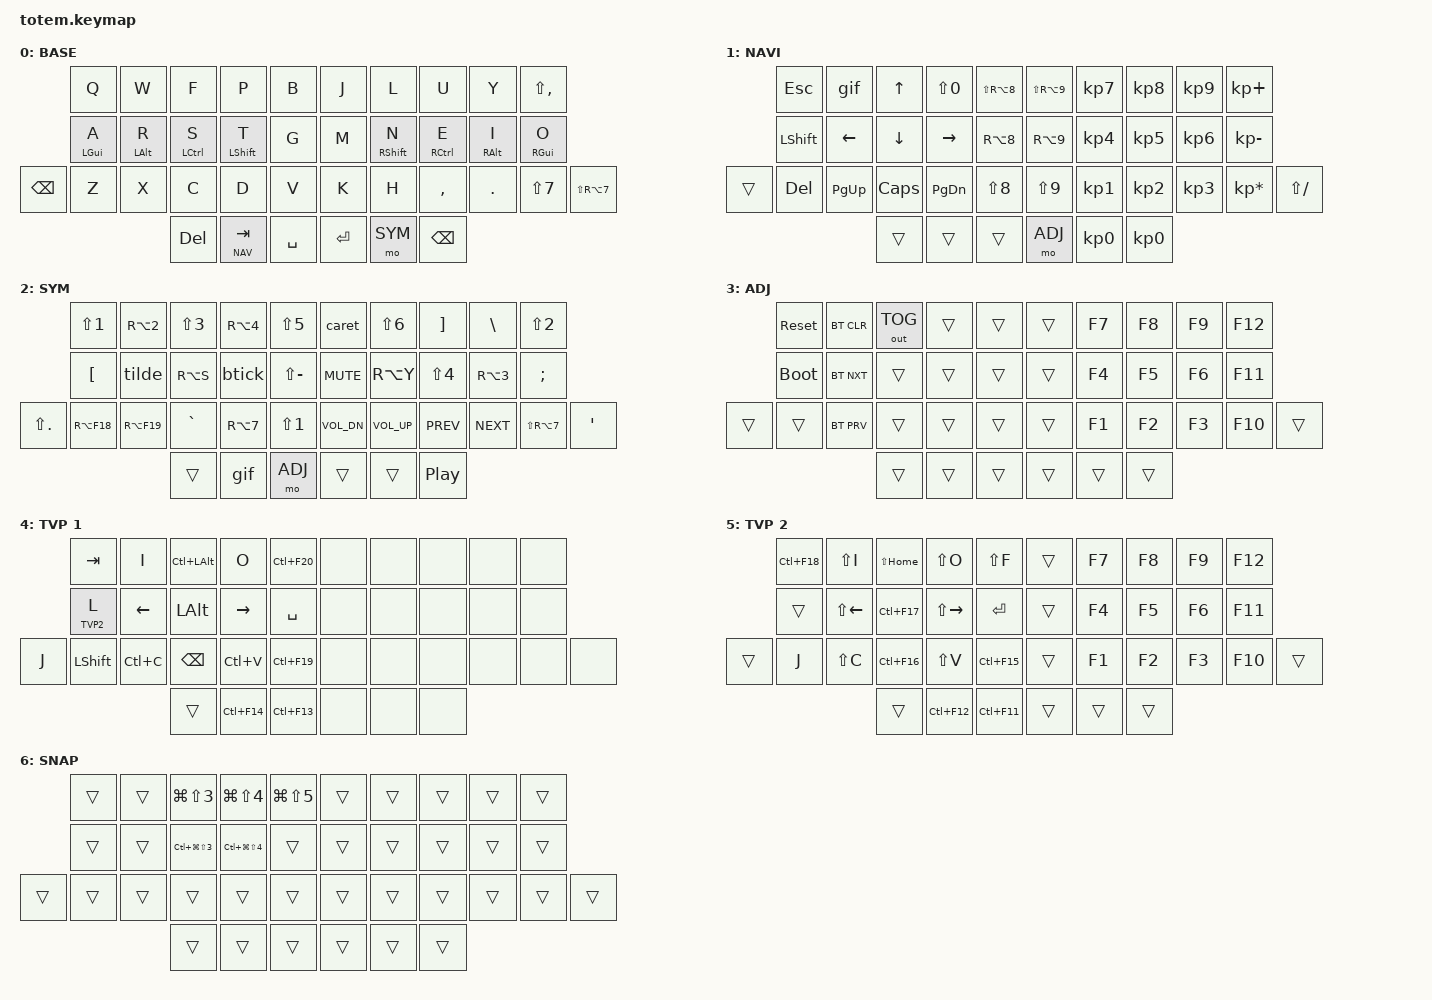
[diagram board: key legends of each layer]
//
//                                                        ▀▀▀▀▀     ▀▀▀▀▀          ▀▀█▀▀
//                                                        ▄▀▀▀▄  ▄  ▄▀▀▀▄  ▄  ▄▀▀▀▄  █  ▄▀▀▀▄
//                                                        █   █  █  █   █  █  █   █  █  █   █
//                                                         ▀▀▀   █   ▀▀▀   █   ▀▀▀   ▀   ▀▀▀
//                                                               █      ▄▄▄█▄▄▄    █   █
//                                                               ▀      █  █  █     █▄█
//                                                             ▀▀▀▀▀    █  █  █      ▀
//                                                                      ▀  ▀  ▀
//
// ▄▄▄▄▄▄▄▄▄▄▄▄▄▄▄▄▄▄▄▄▄▄▄▄▄▄▄▄▄▄▄▄▄▄▄▄▄▄▄▄▄▄▄▄▄▄▄▄▄▄▄▄▄▄▄▄▄▄▄▄▄▄▄▄▄▄▄▄▄▄▄▄▄▄▄▄▄▄▄▄▄▄▄▄▄▄▄▄▄▄▄▄▄▄▄▄▄▄▄▄▄▄▄▄▄▄▄▄▄▄▄▄▄▄▄▄▄▄▄▄▄▄▄▄▄▄▄▄▄▄▄▄▄▄▄▄▄▄▄▄▄▄▄▄▄▄▄▄▄
//
// BASE = Colemak-DH.  Tomma rutor i diagrammen = &trans / &none.
//
// ╔══════════════════════════════════════════════════════════════════════╗
// ║  VARIANT: kräver macOS-inmatningskällan "Svensk – Pro".               ║
// ║  Fungerar INTE med US-layout — då kommer fel tecken överallt.         ║
// ╚══════════════════════════════════════════════════════════════════════╝
//
// ZMK skickar scancodes; OS:et bestämmer tecknet. Med svensk layout ger
// samma scancode ett annat tecken än med US, så alla skiljetecken nedan är
// omskrivna. Bokstäver, F-tangenter, piltangenter, numeriska tangentbordet
// (KP_*) och alla Cmd-genvägar påverkas inte alls — därför är ADJ, TVP 1,
// TVP 2 och skärmklippslagret identiska med US-versionen.
//
// Vinsten: å ä ö är riktiga enkeltryck. Inga dödtangenter, inga makron,
// ingen mod-morph — shift ger Å Ä Ö av sig självt, och det fungerar även i
// terminaler, lösenordsfält och appar som läser råa tangenthändelser.
//
// Priset: ^ och ` är dödtangenter på svensk layout och behöver ett
// efterföljande mellanslag. De två är därför makron här. Samma sak gäller
// ~ som också finns med här som makro.
//
// OBS: < > | ~ ligger som EGNA tangenter i SYM. På US-layout fick man dem
// gratis via shift (Shift+, gav <, Shift+\ gav |), men på svensk layout ger
// samma shift ; respektive * — därför måste de bindas uttryckligen.
// < och > delar en tangent: GRAVE ger < och med shift >. Det ser fel ut,
// och det ÄR fel i teorin — men macOS byter plats på GRAVE (0x35) och
// NON_US_BSLH (0x64) beroende på om den tror att brädan är ANSI eller ISO,
// och Totem hamnar i ANSI-läget.
//
// Verifierat med Tangentbordsvisning: NON_US_BSLH tänder tangenten vänster
// om 1 (alltså § / °), vilket betyder att GRAVE är den som når <-tangenten.
// Byter macOS identifiering till ISO kastas de om — då är NON_US_BSLH rätt
// igen. Kolla i så fall med Tangentbordsvisning innan du ändrar något.
//
// Teckentabell (macOS Svensk – Pro), för framtida redigering:
//
//   !  LS(N1)        "  LS(N2)        #  LS(N3)        €  LS(N4)
//   %  LS(N5)        &  LS(N6)        /  LS(N7)        (  LS(N8)
//   )  LS(N9)        =  LS(N0)        +  MINUS         ?  LS(MINUS)
//   å  LBKT          ¨  RBKT          ö  SEMI          ä  SQT
//   '  BSLH          *  LS(BSLH)      ,  COMMA         ;  LS(COMMA)
//   .  DOT           :  LS(DOT)       -  FSLH          _  LS(FSLH)
//   <  NON_US_BSLH   >  LS(NON_US_BSLH)
//   @  RA(N2)        £  RA(N3)        $  RA(N4)        |  RA(N7)
//   [  RA(N8)        ]  RA(N9)        \  LS(RA(N7))    {  LS(RA(N8))
//   }  LS(RA(N9))
//   Dödtangenter (kräver mellanslag efter): ´ EQUAL   ` LS(EQUAL)
//                                           ¨ RBKT    ^ LS(RBKT)   ~ RA(RBKT)

#include <behaviors.dtsi>
#include <dt-bindings/zmk/bt.h>
#include <dt-bindings/zmk/keys.h>
#include <dt-bindings/zmk/outputs.h>

#define BASE 0
#define NAV  1
#define SYM  2
#define ADJ  3
#define TVP1 4
#define TVP2 5

// Timing för alla mod-taps (home row mods).
//
//   flavor "tap-preferred"     holdet kan bara lösas ut av att tangenten hålls
//                              längre än tapping-term, aldrig av att en annan
//                              tangent trycks. Snällast mot samma-hand-genvägar
//                              som Cmd+C och Cmd+V.
//   tapping-term-ms 230        oförändrat.
//   quick-tap-ms 175           tryck om samma tangent inom 175 ms => alltid tap
//                              (ger hold-to-repeat).
//   require-prior-idle-ms 150  en mod kan aldrig trigga inom 150 ms efter en
//                              annan tangent, dvs aldrig mitt i ett ord.
//
// require-prior-idle-ms ersätter den deprecated `global-quick-tap` (ZMK PR
// #1387, okt 2023). Den gamla hade inget eget värde utan återanvände
// quick-tap-ms — därför satt de två ihop förut. Sätt aldrig båda.

&mt {
    flavor = "tap-preferred";
    tapping-term-ms = <230>;
    quick-tap-ms = <175>;
    require-prior-idle-ms = <150>;
};

/ {
    combos {
        compatible = "zmk,combos";

        // Enda vägen till ESC sedan höger tumme blev ren lagertangent.
        combo_esc {
            timeout-ms = <50>;
            key-positions = <0 1>;
            bindings = <&kp ESC>;
        };

        Macro {
            bindings = <&sl 6>;
            key-positions = <29 28>;
        };
    };

    macros {
        gif: gif {
            label = "giphy";
            compatible = "zmk,behavior-macro";
            #binding-cells = <0>;
            bindings = <&macro_tap>, <&kp LS(N7) &kp G &kp I &kp P &kp H &kp Y>;
        };

        // ^ och ` är dödtangenter på svensk layout: glyfen kommer först när
        // nästa tangent trycks. Mellanslaget efter ger det rena tecknet.

        caret: caret {
            compatible = "zmk,behavior-macro";
            #binding-cells = <0>;
            bindings = <&macro_tap>, <&kp LS(RBKT) &kp SPACE>;

            label = "CARET";
        };

        tilde: tilde {
            compatible = "zmk,behavior-macro";
            #binding-cells = <0>;
            bindings = <&macro_tap>, <&kp RA(RBKT) &kp SPACE>;

            label = "TILDE";
        };

        btick: btick {
            compatible = "zmk,behavior-macro";
            #binding-cells = <0>;
            bindings = <&macro_tap>, <&kp LS(EQUAL) &kp SPACE>;

            label = "BACKTICK";
        };
    };

    // Inget behaviors-block behövs: å ä ö är vanliga tangenter på svensk
    // layout, och shift fungerar på dem som på vilken bokstav som helst.
    // Varken mod-morph eller umlaut-makron finns kvar.

    keymap {
        compatible = "zmk,keymap";

        // ▄▄▄▄▄▄▄▄▄▄▄▄▄▄▄▄▄▄▄▄▄▄▄▄▄▄▄▄▄▄▄▄▄▄▄▄▄▄▄▄▄▄▄▄▄▄▄▄▄▄▄▄▄▄▄▄▄▄▄▄▄▄▄▄▄▄▄▄▄▄▄▄▄▄▄▄▄▄▄▄▄▄▄▄▄▄▄▄▄▄▄▄▄▄▄▄▄▄▄▄▄▄▄▄▄▄▄▄▄▄▄▄▄▄▄▄▄▄▄▄▄▄▄▄▄▄▄▄▄▄▄▄▄▄▄▄▄▄▄▄▄▄▄▄▄▄▄▄▄

        base_layer {
            // ┏━━━━━━━━━━━━━━━━━━━━━━━━━━━━━━━━━━━━━━━┓

            label = "BASE";

            // ┗━━━━━━━━━━━━━━━━━━━━━━━━━━━━━━━━━━━━━━━┛
            //             ┏━━━━━━━━━━━┳━━━━━━━━━━━┳━━━━━━━━━━━┳━━━━━━━━━━━┳━━━━━━━━━━━┓   ┏━━━━━━━━━━━┳━━━━━━━━━━━┳━━━━━━━━━━━┳━━━━━━━━━━━┳━━━━━━━━━━━┓
            //             ┃     Q     ┃     W     ┃     F     ┃     P     ┃     B     ┃   ┃     J     ┃     L     ┃     U     ┃     Y     ┃     ;     ┃
            //             ┣━━━━━━━━━━━╋━━━━━━━━━━━╋━━━━━━━━━━━╋━━━━━━━━━━━╋━━━━━━━━━━━┫   ┣━━━━━━━━━━━╋━━━━━━━━━━━╋━━━━━━━━━━━╋━━━━━━━━━━━╋━━━━━━━━━━━┫
            //             ┃   GUI A   ┃   ALT R   ┃   CTL S   ┃   SFT T   ┃     G     ┃   ┃     M     ┃   SFT N   ┃   CTL E   ┃   ALT I   ┃   GUI O   ┃
            // ┏━━━━━━━━━━━╋━━━━━━━━━━━╋━━━━━━━━━━━╋━━━━━━━━━━━╋━━━━━━━━━━━╋━━━━━━━━━━━┫   ┣━━━━━━━━━━━╋━━━━━━━━━━━╋━━━━━━━━━━━╋━━━━━━━━━━━╋━━━━━━━━━━━╋━━━━━━━━━━━┓
            // ┃    BSPC   ┃     Z     ┃     X     ┃     C     ┃     D     ┃     V     ┃   ┃     K     ┃     H     ┃     ,     ┃     .     ┃     /     ┃     \     ┃
            // ┗━━━━━━━━━━━┻━━━━━━━━━━━┻━━━━━━━━━━━╋━━━━━━━━━━━╋━━━━━━━━━━━╋━━━━━━━━━━━┫   ┣━━━━━━━━━━━╋━━━━━━━━━━━╋━━━━━━━━━━━╋━━━━━━━━━━━┻━━━━━━━━━━━┻━━━━━━━━━━━┛
            //                                     ┃    DEL    ┃  NAV TAB  ┃    SPC    ┃   ┃   ENTER   ┃    SYM    ┃    BSPC   ┃
            //                                     ┗━━━━━━━━━━━┻━━━━━━━━━━━┻━━━━━━━━━━━┛   ┗━━━━━━━━━━━┻━━━━━━━━━━━┻━━━━━━━━━━━┛

            bindings = <
               &kp Q       &kp W       &kp F        &kp P        &kp B        &kp J    &kp L        &kp U        &kp Y       &kp LS(COMMA)
               &mt LGUI A  &mt LALT R  &mt LCTRL S  &mt LSHFT T  &kp G        &kp M    &mt RSHFT N  &mt RCTRL E  &mt RALT I  &mt RGUI O
&kp BACKSPACE  &kp Z       &kp X       &kp C        &kp D        &kp V        &kp K    &kp H        &kp COMMA    &kp DOT     &kp LS(N7)  &kp LS(RA(N7))
                                       &kp DEL      &lt NAV TAB  &kp SPACE    &kp RET  &mo SYM      &kp BSPC
            >;
        };

        // ▄▄▄▄▄▄▄▄▄▄▄▄▄▄▄▄▄▄▄▄▄▄▄▄▄▄▄▄▄▄▄▄▄▄▄▄▄▄▄▄▄▄▄▄▄▄▄▄▄▄▄▄▄▄▄▄▄▄▄▄▄▄▄▄▄▄▄▄▄▄▄▄▄▄▄▄▄▄▄▄▄▄▄▄▄▄▄▄▄▄▄▄▄▄▄▄▄▄▄▄▄▄▄▄▄▄▄▄▄▄▄▄▄▄▄▄▄▄▄▄▄▄▄▄▄▄▄▄▄▄▄▄▄▄▄▄▄▄▄▄▄▄▄▄▄▄▄▄▄

        nav_layer {
            // ┏━━━━━━━━━━━━━━━━━━━━━━━━━━━━━━━━━━━━━━━┓

            label = "NAVI";

            // ┗━━━━━━━━━━━━━━━━━━━━━━━━━━━━━━━━━━━━━━━┛
            //             ┏━━━━━━━━━━━┳━━━━━━━━━━━┳━━━━━━━━━━━┳━━━━━━━━━━━┳━━━━━━━━━━━┓   ┏━━━━━━━━━━━┳━━━━━━━━━━━┳━━━━━━━━━━━┳━━━━━━━━━━━┳━━━━━━━━━━━┓
            //             ┃    ESC    ┃    GIF    ┃     UP    ┃     =     ┃     {     ┃   ┃     }     ┃     7     ┃     8     ┃     9     ┃     +     ┃
            //             ┣━━━━━━━━━━━╋━━━━━━━━━━━╋━━━━━━━━━━━╋━━━━━━━━━━━╋━━━━━━━━━━━┫   ┣━━━━━━━━━━━╋━━━━━━━━━━━╋━━━━━━━━━━━╋━━━━━━━━━━━╋━━━━━━━━━━━┫
            //             ┃   SHIFT   ┃    LEFT   ┃    DOWN   ┃   RIGHT   ┃     [     ┃   ┃     ]     ┃     4     ┃     5     ┃     6     ┃     -     ┃
            // ┏━━━━━━━━━━━╋━━━━━━━━━━━╋━━━━━━━━━━━╋━━━━━━━━━━━╋━━━━━━━━━━━╋━━━━━━━━━━━┫   ┣━━━━━━━━━━━╋━━━━━━━━━━━╋━━━━━━━━━━━╋━━━━━━━━━━━╋━━━━━━━━━━━╋━━━━━━━━━━━┓
            // ┃           ┃    DEL    ┃    P UP   ┃   C LOCK  ┃   P DOWN  ┃     (     ┃   ┃     )     ┃     1     ┃     2     ┃     3     ┃     *     ┃     _     ┃
            // ┗━━━━━━━━━━━┻━━━━━━━━━━━┻━━━━━━━━━━━╋━━━━━━━━━━━╋━━━━━━━━━━━╋━━━━━━━━━━━┫   ┣━━━━━━━━━━━╋━━━━━━━━━━━╋━━━━━━━━━━━╋━━━━━━━━━━━┻━━━━━━━━━━━┻━━━━━━━━━━━┛
            //                                     ┃           ┃           ┃           ┃   ┃    ADJ    ┃     0     ┃     0     ┃
            //                                     ┗━━━━━━━━━━━┻━━━━━━━━━━━┻━━━━━━━━━━━┛   ┗━━━━━━━━━━━┻━━━━━━━━━━━┻━━━━━━━━━━━┛

            bindings = <
        &kp ESC    &gif       &kp UP    &kp LS(N0)     &kp LS(RA(N8))    &kp LS(RA(N9))  &kp KP_N7  &kp KP_N8        &kp KP_N9  &kp KP_PLUS
        &kp LSHFT  &kp LEFT   &kp DOWN  &kp RIGHT      &kp RA(N8)        &kp RA(N9)      &kp KP_N4  &kp KP_N5        &kp KP_N6  &kp KP_MINUS
&trans  &kp DEL    &kp PG_UP  &kp CAPS  &kp PG_DN      &kp LS(N8)        &kp LS(N9)      &kp KP_N1  &kp KP_N2        &kp KP_N3  &kp KP_MULTIPLY  &kp LS(FSLH)
                              &trans    &trans     &trans      &mo ADJ   &kp KP_N0  &kp KP_NUMBER_0
            >;
        };

        // ▄▄▄▄▄▄▄▄▄▄▄▄▄▄▄▄▄▄▄▄▄▄▄▄▄▄▄▄▄▄▄▄▄▄▄▄▄▄▄▄▄▄▄▄▄▄▄▄▄▄▄▄▄▄▄▄▄▄▄▄▄▄▄▄▄▄▄▄▄▄▄▄▄▄▄▄▄▄▄▄▄▄▄▄▄▄▄▄▄▄▄▄▄▄▄▄▄▄▄▄▄▄▄▄▄▄▄▄▄▄▄▄▄▄▄▄▄▄▄▄▄▄▄▄▄▄▄▄▄▄▄▄▄▄▄▄▄▄▄▄▄▄▄▄▄▄▄▄▄

        sim_layer {
            // ┏━━━━━━━━━━━━━━━━━━━━━━━━━━━━━━━━━━━━━━━┓

            label = "SYM";

            // ┗━━━━━━━━━━━━━━━━━━━━━━━━━━━━━━━━━━━━━━━┛
            //             ┏━━━━━━━━━━━┳━━━━━━━━━━━┳━━━━━━━━━━━┳━━━━━━━━━━━┳━━━━━━━━━━━┓   ┏━━━━━━━━━━━┳━━━━━━━━━━━┳━━━━━━━━━━━┳━━━━━━━━━━━┳━━━━━━━━━━━┓
            //             ┃     !     ┃     @     ┃     #     ┃     $     ┃     %     ┃   ┃     ˆ     ┃     &     ┃     Ü     ┃     '     ┃     "     ┃
            //             ┣━━━━━━━━━━━╋━━━━━━━━━━━╋━━━━━━━━━━━╋━━━━━━━━━━━╋━━━━━━━━━━━┫   ┣━━━━━━━━━━━╋━━━━━━━━━━━╋━━━━━━━━━━━╋━━━━━━━━━━━╋━━━━━━━━━━━┫
            //             ┃   å / Å   ┃     ~     ┃     SZ    ┃     `     ┃     ?     ┃   ┃    MUTE   ┃   YEN ¥   ┃   EURO €  ┃  POUND £  ┃   ö / Ö   ┃
            // ┏━━━━━━━━━━━╋━━━━━━━━━━━╋━━━━━━━━━━━╋━━━━━━━━━━━╋━━━━━━━━━━━╋━━━━━━━━━━━┫   ┣━━━━━━━━━━━╋━━━━━━━━━━━╋━━━━━━━━━━━╋━━━━━━━━━━━╋━━━━━━━━━━━╋━━━━━━━━━━━┓
            // ┃     :     ┃   EMAIL1  ┃   EMAIL2  ┃   < / >   ┃     |     ┃     !     ┃   ┃    VOL-   ┃    VOL+   ┃    LAST   ┃    NEXT   ┃     \     ┃   ä / Ä   ┃
            // ┗━━━━━━━━━━━┻━━━━━━━━━━━┻━━━━━━━━━━━╋━━━━━━━━━━━╋━━━━━━━━━━━╋━━━━━━━━━━━┫   ┣━━━━━━━━━━━╋━━━━━━━━━━━╋━━━━━━━━━━━╋━━━━━━━━━━━┻━━━━━━━━━━━┻━━━━━━━━━━━┛
            //                                     ┃           ┃    GIF    ┃    ADJ    ┃   ┃           ┃           ┃    PLAY   ┃
            //                                     ┗━━━━━━━━━━━┻━━━━━━━━━━━┻━━━━━━━━━━━┛   ┗━━━━━━━━━━━┻━━━━━━━━━━━┻━━━━━━━━━━━┛

            bindings = <
              &kp LS(N1)   &kp RA(N2)   &kp LS(N3)  &kp RA(N4)  &kp LS(N5)     &caret        &kp LS(N6)    &kp RBKT      &kp BSLH    &kp LS(N2)
              &kp LBKT     &tilde       &kp RA(S)   &btick      &kp LS(MINUS)  &kp C_MUTE    &kp RA(Y)     &kp LS(N4)    &kp RA(N3)  &kp SEMI
&kp LS(DOT)   &kp RA(F18)  &kp RA(F19)  &kp GRAVE        &kp RA(N7)  &kp LS(N1)     &kp C_VOL_DN  &kp C_VOL_UP  &kp C_PREV    &kp C_NEXT  &kp LS(RA(N7))  &kp SQT
                                     &trans     &gif       &mo ADJ            &trans        &trans          &kp C_PLAY_PAUSE
            >;
        };

        // ▄▄▄▄▄▄▄▄▄▄▄▄▄▄▄▄▄▄▄▄▄▄▄▄▄▄▄▄▄▄▄▄▄▄▄▄▄▄▄▄▄▄▄▄▄▄▄▄▄▄▄▄▄▄▄▄▄▄▄▄▄▄▄▄▄▄▄▄▄▄▄▄▄▄▄▄▄▄▄▄▄▄▄▄▄▄▄▄▄▄▄▄▄▄▄▄▄▄▄▄▄▄▄▄▄▄▄▄▄▄▄▄▄▄▄▄▄▄▄▄▄▄▄▄▄▄▄▄▄▄▄▄▄▄▄▄▄▄▄▄▄▄▄▄▄▄▄▄▄

        adjust_layer {
            // ┏━━━━━━━━━━━━━━━━━━━━━━━━━━━━━━━━━━━━━━━┓

            label = "ADJ";

            // ┗━━━━━━━━━━━━━━━━━━━━━━━━━━━━━━━━━━━━━━━┛
            //             ┏━━━━━━━━━━━┳━━━━━━━━━━━┳━━━━━━━━━━━┳━━━━━━━━━━━┳━━━━━━━━━━━┓   ┏━━━━━━━━━━━┳━━━━━━━━━━━┳━━━━━━━━━━━┳━━━━━━━━━━━┳━━━━━━━━━━━┓
            //             ┃   RESET   ┃ BT CLEAR  ┃  OUT TOG  ┃           ┃           ┃   ┃           ┃    F7     ┃    F8     ┃    F9     ┃    F12    ┃
            //             ┣━━━━━━━━━━━╋━━━━━━━━━━━╋━━━━━━━━━━━╋━━━━━━━━━━━╋━━━━━━━━━━━┫   ┣━━━━━━━━━━━╋━━━━━━━━━━━╋━━━━━━━━━━━╋━━━━━━━━━━━╋━━━━━━━━━━━┫
            //             ┃ BOOTLOAD  ┃ BT NEXT   ┃           ┃           ┃           ┃   ┃           ┃    F4     ┃    F5     ┃    F6     ┃    F11    ┃
            // ┏━━━━━━━━━━━╋━━━━━━━━━━━╋━━━━━━━━━━━╋━━━━━━━━━━━╋━━━━━━━━━━━╋━━━━━━━━━━━┫   ┣━━━━━━━━━━━╋━━━━━━━━━━━╋━━━━━━━━━━━╋━━━━━━━━━━━╋━━━━━━━━━━━╋━━━━━━━━━━━┓
            // ┃           ┃           ┃ BT PREV   ┃           ┃           ┃           ┃   ┃           ┃    F1     ┃    F2     ┃    F3     ┃    F10    ┃           ┃
            // ┗━━━━━━━━━━━┻━━━━━━━━━━━┻━━━━━━━━━━━╋━━━━━━━━━━━╋━━━━━━━━━━━╋━━━━━━━━━━━┫   ┣━━━━━━━━━━━╋━━━━━━━━━━━╋━━━━━━━━━━━╋━━━━━━━━━━━┻━━━━━━━━━━━┻━━━━━━━━━━━┛
            //                                     ┃           ┃           ┃           ┃   ┃           ┃           ┃           ┃
            //                                     ┗━━━━━━━━━━━┻━━━━━━━━━━━┻━━━━━━━━━━━┛   ┗━━━━━━━━━━━┻━━━━━━━━━━━┻━━━━━━━━━━━┛

            bindings = <
        &sys_reset   &bt BT_CLR  &out OUT_TOG  &trans  &trans    &trans  &kp F7  &kp F8  &kp F9  &kp F12
        &bootloader  &bt BT_NXT  &trans        &trans  &trans    &trans  &kp F4  &kp F5  &kp F6  &kp F11
&trans  &trans       &bt BT_PRV  &trans        &trans  &trans    &trans  &kp F1  &kp F2  &kp F3  &kp F10  &trans
                                 &trans        &trans  &trans    &trans  &trans  &trans
            >;
        };

        // ▄▄▄▄▄▄▄▄▄▄▄▄▄▄▄▄▄▄▄▄▄▄▄▄▄▄▄▄▄▄▄▄▄▄▄▄▄▄▄▄▄▄▄▄▄▄▄▄▄▄▄▄▄▄▄▄▄▄▄▄▄▄▄▄▄▄▄▄▄▄▄▄▄▄▄▄▄▄▄▄▄▄▄▄▄▄▄▄▄▄▄▄▄▄▄▄▄▄▄▄▄▄▄▄▄▄▄▄▄▄▄▄▄▄▄▄▄▄▄▄▄▄▄▄▄▄▄▄▄▄▄▄▄▄▄▄▄▄▄▄▄▄▄▄▄▄▄▄▄

        tvp1_layer {
            // ┏━━━━━━━━━━━━━━━━━━━━━━━━━━━━━━━━━━━━━━━┓

            label = "TVP 1";

            // ┗━━━━━━━━━━━━━━━━━━━━━━━━━━━━━━━━━━━━━━━┛
            //             ┏━━━━━━━━━━━┳━━━━━━━━━━━┳━━━━━━━━━━━┳━━━━━━━━━━━┳━━━━━━━━━━━┓   ┏━━━━━━━━━━━┳━━━━━━━━━━━┳━━━━━━━━━━━┳━━━━━━━━━━━┳━━━━━━━━━━━┓
            //             ┃ NEXT FILE ┃ MARK IN   ┃ ROTATE    ┃ MARK OUT  ┃ SHOW SNAP ┃   ┃           ┃           ┃           ┃           ┃           ┃
            //             ┣━━━━━━━━━━━╋━━━━━━━━━━━╋━━━━━━━━━━━╋━━━━━━━━━━━╋━━━━━━━━━━━┫   ┣━━━━━━━━━━━╋━━━━━━━━━━━╋━━━━━━━━━━━╋━━━━━━━━━━━╋━━━━━━━━━━━┫
            //             ┃ TVP II    ┃ LEFT      ┃ PAN       ┃ RIGHT     ┃ PLAY/FLIP ┃   ┃           ┃           ┃           ┃           ┃           ┃
            // ┏━━━━━━━━━━━╋━━━━━━━━━━━╋━━━━━━━━━━━╋━━━━━━━━━━━╋━━━━━━━━━━━╋━━━━━━━━━━━┫   ┣━━━━━━━━━━━╋━━━━━━━━━━━╋━━━━━━━━━━━╋━━━━━━━━━━━╋━━━━━━━━━━━╋━━━━━━━━━━━┓
            // ┃ FULLSCR   ┃ SHIFT     ┃ COPY      ┃ DELETE    ┃ PASTE     ┃ IMG MARK  ┃   ┃           ┃           ┃           ┃           ┃           ┃           ┃
            // ┗━━━━━━━━━━━┻━━━━━━━━━━━┻━━━━━━━━━━━╋━━━━━━━━━━━╋━━━━━━━━━━━╋━━━━━━━━━━━┫   ┣━━━━━━━━━━━╋━━━━━━━━━━━╋━━━━━━━━━━━╋━━━━━━━━━━━┻━━━━━━━━━━━┻━━━━━━━━━━━┛
            //                                     ┃           ┃ UNDO/SAVE ┃  SEL/MOV  ┃   ┃           ┃           ┃           ┃
            //                                     ┗━━━━━━━━━━━┻━━━━━━━━━━━┻━━━━━━━━━━━┛   ┗━━━━━━━━━━━┻━━━━━━━━━━━┻━━━━━━━━━━━┛

            bindings = <
       &kp TAB     &kp I      &kp LC(LALT)  &kp O        &kp LC(F20)    &none  &none  &none  &none  &none
       &lt TVP2 L  &kp LEFT   &kp LALT      &kp RIGHT    &kp SPACE      &none  &none  &none  &none  &none
&kp J  &kp LSHFT   &kp LC(C)  &kp BSPC      &kp LC(V)    &kp LC(F19)    &none  &none  &none  &none  &none  &none
                              &trans        &kp LC(F14)  &kp LC(F13)    &none  &none  &none
            >;
        };

        // ▄▄▄▄▄▄▄▄▄▄▄▄▄▄▄▄▄▄▄▄▄▄▄▄▄▄▄▄▄▄▄▄▄▄▄▄▄▄▄▄▄▄▄▄▄▄▄▄▄▄▄▄▄▄▄▄▄▄▄▄▄▄▄▄▄▄▄▄▄▄▄▄▄▄▄▄▄▄▄▄▄▄▄▄▄▄▄▄▄▄▄▄▄▄▄▄▄▄▄▄▄▄▄▄▄▄▄▄▄▄▄▄▄▄▄▄▄▄▄▄▄▄▄▄▄▄▄▄▄▄▄▄▄▄▄▄▄▄▄▄▄▄▄▄▄▄▄▄▄

        tvp2_layer {
            // ┏━━━━━━━━━━━━━━━━━━━━━━━━━━━━━━━━━━━━━━━┓

            label = "TVP 2";

            // ┗━━━━━━━━━━━━━━━━━━━━━━━━━━━━━━━━━━━━━━━┛
            //             ┏━━━━━━━━━━━┳━━━━━━━━━━━┳━━━━━━━━━━━┳━━━━━━━━━━━┳━━━━━━━━━━━┓   ┏━━━━━━━━━━━┳━━━━━━━━━━━┳━━━━━━━━━━━┳━━━━━━━━━━━┳━━━━━━━━━━━┓
            //             ┃ SOLO      ┃ TOGGLE IN ┃ RESET ROT ┃ TOGGLE OUT┃ TAKE SNAP ┃   ┃           ┃           ┃           ┃           ┃           ┃
            //             ┣━━━━━━━━━━━╋━━━━━━━━━━━╋━━━━━━━━━━━╋━━━━━━━━━━━╋━━━━━━━━━━━┫   ┣━━━━━━━━━━━╋━━━━━━━━━━━╋━━━━━━━━━━━╋━━━━━━━━━━━╋━━━━━━━━━━━┫
            //             ┃ ---       ┃ LAST KEY  ┃ NEW KEY   ┃ NEXT KEY  ┃ ENTER     ┃   ┃           ┃           ┃           ┃           ┃           ┃
            // ┏━━━━━━━━━━━╋━━━━━━━━━━━╋━━━━━━━━━━━╋━━━━━━━━━━━╋━━━━━━━━━━━╋━━━━━━━━━━━┫   ┣━━━━━━━━━━━╋━━━━━━━━━━━╋━━━━━━━━━━━╋━━━━━━━━━━━╋━━━━━━━━━━━╋━━━━━━━━━━━┓
            // ┃           ┃ FULLSCR   ┃ CPY2BRUSH ┃ DEL HEAD  ┃ PSTinPLACE┃ BOOK MARK ┃   ┃           ┃           ┃           ┃           ┃           ┃           ┃
            // ┗━━━━━━━━━━━┻━━━━━━━━━━━┻━━━━━━━━━━━╋━━━━━━━━━━━╋━━━━━━━━━━━╋━━━━━━━━━━━┫   ┣━━━━━━━━━━━╋━━━━━━━━━━━╋━━━━━━━━━━━╋━━━━━━━━━━━┻━━━━━━━━━━━┻━━━━━━━━━━━┛
            //                                     ┃           ┃ REDO/SAV1 ┃TRANS/WARP ┃   ┃           ┃           ┃           ┃
            //                                     ┗━━━━━━━━━━━┻━━━━━━━━━━━┻━━━━━━━━━━━┛   ┗━━━━━━━━━━━┻━━━━━━━━━━━┻━━━━━━━━━━━┛

            bindings = <
        &kp LC(F18)  &kp LS(I)     &kp LS(HOME)  &kp LS(O)      &kp LS(F)      &trans  &kp F7  &kp F8  &kp F9  &kp F12
        &trans       &kp LS(LEFT)  &kp LC(F17)   &kp LS(RIGHT)  &kp RET        &trans  &kp F4  &kp F5  &kp F6  &kp F11
&trans  &kp J        &kp LS(C)     &kp LC(F16)   &kp LS(V)      &kp LC(F15)    &trans  &kp F1  &kp F2  &kp F3  &kp F10  &trans
                                   &trans        &kp LC(F12)    &kp LC(F11)    &trans  &trans  &trans
            >;
        };

        // ▄▄▄▄▄▄▄▄▄▄▄▄▄▄▄▄▄▄▄▄▄▄▄▄▄▄▄▄▄▄▄▄▄▄▄▄▄▄▄▄▄▄▄▄▄▄▄▄▄▄▄▄▄▄▄▄▄▄▄▄▄▄▄▄▄▄▄▄▄▄▄▄▄▄▄▄▄▄▄▄▄▄▄▄▄▄▄▄▄▄▄▄▄▄▄▄▄▄▄▄▄▄▄▄▄▄▄▄▄▄▄▄▄▄▄▄▄▄▄▄▄▄▄▄▄▄▄▄▄▄▄▄▄▄▄▄▄▄▄▄▄▄▄▄▄▄▄▄▄

        layer_6 {
            // ┏━━━━━━━━━━━━━━━━━━━━━━━━━━━━━━━━━━━━━━━┓

            label = "SNAP";

            // ┗━━━━━━━━━━━━━━━━━━━━━━━━━━━━━━━━━━━━━━━┛
            //
            // Nås via comboen på position 28+29 (, och .) som ger &sl 6,
            // dvs ett sticky lager: tryck comboen, släpp, tryck sedan P.
            //
            // Övre raden sparar som FIL på skrivbordet, raden under lägger
            // samma bild i URKLIPP (macOS: samma genväg plus Ctrl).
            //
            //   F  Cmd+Shift+3            hela skärmen
            //   P  Cmd+Shift+4            markera område
            //   B  Cmd+Shift+5            skärmbildsverktyget (meny, ej fil)
            //   S  Ctrl+Cmd+Shift+3       hela skärmen -> urklipp
            //   T  Ctrl+Cmd+Shift+4       markera område -> urklipp
            //
            //             ┏━━━━━━━━━━━┳━━━━━━━━━━━┳━━━━━━━━━━━┳━━━━━━━━━━━┳━━━━━━━━━━━┓   ┏━━━━━━━━━━━┳━━━━━━━━━━━┳━━━━━━━━━━━┳━━━━━━━━━━━┳━━━━━━━━━━━┓
            //             ┃           ┃           ┃  HELA FIL ┃ OMRÅD FIL ┃  VERKTYG  ┃   ┃           ┃           ┃           ┃           ┃           ┃
            //             ┣━━━━━━━━━━━╋━━━━━━━━━━━╋━━━━━━━━━━━╋━━━━━━━━━━━╋━━━━━━━━━━━┫   ┣━━━━━━━━━━━╋━━━━━━━━━━━╋━━━━━━━━━━━╋━━━━━━━━━━━╋━━━━━━━━━━━┫
            //             ┃           ┃           ┃ HELA URKL ┃ OMRÅD URKL┃           ┃   ┃           ┃           ┃           ┃           ┃           ┃
            // ┏━━━━━━━━━━━╋━━━━━━━━━━━╋━━━━━━━━━━━╋━━━━━━━━━━━╋━━━━━━━━━━━╋━━━━━━━━━━━┫   ┣━━━━━━━━━━━╋━━━━━━━━━━━╋━━━━━━━━━━━╋━━━━━━━━━━━╋━━━━━━━━━━━╋━━━━━━━━━━━┓
            // ┃           ┃           ┃           ┃           ┃           ┃           ┃   ┃           ┃           ┃           ┃           ┃           ┃           ┃
            // ┗━━━━━━━━━━━┻━━━━━━━━━━━┻━━━━━━━━━━━╋━━━━━━━━━━━╋━━━━━━━━━━━╋━━━━━━━━━━━┫   ┣━━━━━━━━━━━╋━━━━━━━━━━━╋━━━━━━━━━━━╋━━━━━━━━━━━┻━━━━━━━━━━━┻━━━━━━━━━━━┛
            //                                     ┃           ┃           ┃           ┃   ┃           ┃           ┃           ┃
            //                                     ┗━━━━━━━━━━━┻━━━━━━━━━━━┻━━━━━━━━━━━┛   ┗━━━━━━━━━━━┻━━━━━━━━━━━┻━━━━━━━━━━━┛

            bindings = <
        &trans  &trans  &kp LG(LS(N3))      &kp LG(LS(N4))      &kp LG(LS(N5))    &trans  &trans  &trans  &trans  &trans
        &trans  &trans  &kp LC(LG(LS(N3)))  &kp LC(LG(LS(N4)))  &trans            &trans  &trans  &trans  &trans  &trans
&trans  &trans  &trans  &trans              &trans              &trans            &trans  &trans  &trans  &trans  &trans  &trans
                        &trans              &trans              &trans            &trans  &trans  &trans
            >;
        };
    };
};
